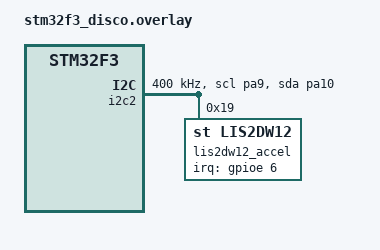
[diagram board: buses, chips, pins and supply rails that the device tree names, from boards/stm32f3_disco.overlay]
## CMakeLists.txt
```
# Copyright (c) 2024 NXP
# SPDX-License-Identifier: Apache-2.0

cmake_minimum_required(VERSION 3.28.0)
find_package(Zephyr REQUIRED HINTS $ENV{ZEPHYR_BASE})
project(accel_trig)

FILE(GLOB app_sources src/*.c)
target_sources(app PRIVATE ${app_sources})
```

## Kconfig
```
#
#  Copyright (c) 2025 Pierrick Curt
#
# SPDX-License-Identifier: Apache-2.0
#

mainmenu "Accelerometer trigger sample application"

config SAMPLE_TAP_DETECTION
	bool "Set tap detection as trigger in the sample"

config ACTIVITY_DETECTION
	bool "Set activity detection as trigger in the sample"

source "Kconfig.zephyr"
```

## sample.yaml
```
sample:
  name: Accelerometer trigger sample
common:
  tags: sensors
  harness: console
  harness_config:
    type: one_line
    regex:
      - "^\\s*[0-9A-Za-z_,+-.]*@[0-9A-Fa-f]* \\[m\/s\\^2\\]:    \
        \\(\\s*-?[0-9\\.]*,\\s*-?[0-9\\.]*,\\s*-?[0-9\\.]*\\)$"
tests:
  sample.sensor.accel_trig:
    filter: dt_alias_exists("accel0")
    harness_config:
      type: one_line
      regex:
        - "^\\s*[0-9A-Za-z_,+-.]*@[0-9A-Fa-f]* \\[m\/s\\^2\\]:    \
          \\(\\s*-?[0-9\\.]*,\\s*-?[0-9\\.]*,\\s*-?[0-9\\.]*\\)$"
      fixture: fixture_sensor_accel_int
    integration_platforms:
      - frdm_k64f                          # fxos8700
      - mikroe_clicker_ra4m1/r7fa4m1ab3cfm # mikroe_lsm6dsl_click shield
    platform_exclude:
      - sensortile_box
      - stm32f3_disco
      - stm32f411e_disco
      - b_l4s5i_iot01a
      - disco_l475_iot1
      - stm32l562e_dk
      - stm32wb5mm_dk
    extra_args:
      - platform:mikroe_clicker_ra4m1/r7fa4m1ab3cfm:SHIELD="mikroe_lsm6dsl_click"
  sample.sensor.accel_trig.adxl345-trigger:
    extra_args:
      - SHIELD=pmod_acl
      - EXTRA_CONF_FILE=adxl345-trigger.conf
      - SNIPPET=rtt-tracing;rtt-console
    extra_configs:
      - CONFIG_UART_CONSOLE=n
    platform_allow:
      - apard32690/max32690/m4
  sample.sensor.accel_trig.adxl362-trigger:
    extra_args:
      - SHIELD=eval_adxl362_ardz
      - EXTRA_CONF_FILE=adxl362-trigger.conf
      - SNIPPET=rtt-tracing;rtt-console
    extra_configs:
      - CONFIG_UART_CONSOLE=n
    platform_allow:
      - apard32690/max32690/m4
  sample.sensor.accel_trig.shield-tap:
    harness_config:
      fixture: fixture_x_nucleo_iks01a3
    extra_args:
      - SHIELD=x_nucleo_iks01a3
      - EXTRA_DTC_OVERLAY_FILE=x_nucleo_iks01a3.overlay
      - CONFIG_SAMPLE_TAP_DETECTION=y
    depends_on:
      - arduino_i2c
      - arduino_gpio
    platform_allow:
      - nrf52dk/nrf52832
    integration_platforms:
      - nrf52dk/nrf52832
  sample.sensor.accel_trig.generic-tap:
    filter: dt_compat_enabled("nxp,fxos8700") or dt_compat_enabled("invensense,icm42605") or
            dt_compat_enabled("st,iis2dlpc") or dt_compat_enabled("st,lis2dw12")
    extra_args:
      - CONFIG_SAMPLE_TAP_DETECTION=y
    integration_platforms:
      - stm32f3_disco
```

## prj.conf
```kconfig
CONFIG_STDOUT_CONSOLE=y
CONFIG_SENSOR=y
CONFIG_CBPRINTF_FP_SUPPORT=y
```

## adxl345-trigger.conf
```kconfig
# Copyright (c) 2024 Analog Devices, Inc.
# SPDX-License-Identifier: Apache-2.0

CONFIG_ADXL345_TRIGGER_OWN_THREAD=y
CONFIG_ACTIVITY_DETECTION=y
```

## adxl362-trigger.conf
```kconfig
# Copyright (c) 2024 Analog Devices, Inc.
# SPDX-License-Identifier: Apache-2.0

CONFIG_ADXL362_TRIGGER_OWN_THREAD=y
CONFIG_ADXL362_ACCEL_ODR_400=y
```

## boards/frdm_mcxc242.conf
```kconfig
CONFIG_FXLS8974_TRIGGER_OWN_THREAD=y
```

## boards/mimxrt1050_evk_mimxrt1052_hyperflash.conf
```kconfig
CONFIG_FXOS8700_TRIGGER_OWN_THREAD=y
CONFIG_FXOS8700_MODE_ACCEL=y
```

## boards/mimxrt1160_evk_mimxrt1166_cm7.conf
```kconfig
#
# check the fxos8700 dts for this board for addition settings
#

CONFIG_FXOS8700_TRIGGER_OWN_THREAD=y
CONFIG_FXOS8700_MODE_ACCEL=y
```

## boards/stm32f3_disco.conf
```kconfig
# SPDX-FileCopyrightText: Copyright The Zephyr Project Contributors
# SPDX-License-Identifier: Apache-2.0

CONFIG_I2C=y
CONFIG_SENSOR_LOG_LEVEL_DBG=y
CONFIG_LIS2DW12_TRIGGER_GLOBAL_THREAD=y
CONFIG_LIS2DW12_TAP=y
```

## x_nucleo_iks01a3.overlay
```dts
/*
 * Copyright (c) 2025 Pierrick Curt
 *
 * SPDX-License-Identifier: Apache-2.0
 */
#include <zephyr/dt-bindings/sensor/lis2dw12.h>

&lis2dw12_19_x_nucleo_iks01a3 {
	compatible = "st,lis2dw12";
	reg = <0x19>;
	odr = <400>;
	tap-mode = <LIS2DW12_DT_SINGLE_DOUBLE_TAP>;
	tap-threshold = <12>, <12>, <12>;
	power-mode = <LIS2DW12_DT_HP_MODE>;
	tap-shock = <0x03>;
	tap-quiet = <0x03>;
	tap-latency = <0x03>;
	irq-gpios = <&arduino_header 3 GPIO_ACTIVE_HIGH>; /* A3 */
	status = "okay";
};
```

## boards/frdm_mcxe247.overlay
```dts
/*
 * SPDX-License-Identifier: Apache-2.0
 *
 * Copyright 2025 NXP
 */

&fxls8974 {
	int1-gpios = <&gpioe 14 GPIO_ACTIVE_LOW>;
	int2-gpios = <&gpioe 11 GPIO_ACTIVE_LOW>;
	status = "okay";
};
```

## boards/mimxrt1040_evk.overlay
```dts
/*
 * SPDX-License-Identifier: Apache-2.0
 *
 * Copyright 2025 NXP
 */

&fxls8974 {
	int1-gpios = <&gpio1 11 GPIO_ACTIVE_LOW>;
	int2-gpios = <&gpio1 12 GPIO_ACTIVE_LOW>;
	status = "okay";
};
```

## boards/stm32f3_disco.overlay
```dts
/*
 * Copyright (c) 2024, Pierrick Curt.
 *
 * SPDX-License-Identifier: Apache-2.0
 */

#include <zephyr/dt-bindings/sensor/lis2dw12.h>

/ {
	aliases {
		accel0 = &lis2dw12_accel;
	};
};

&i2c2 {
	pinctrl-0 = <&i2c2_scl_pa9 &i2c2_sda_pa10>;
	pinctrl-names = "default";
	scl-gpios = <&gpioa 9 GPIO_ACTIVE_HIGH>;
	sda-gpios = <&gpioa 10 GPIO_ACTIVE_HIGH>;
	status = "okay";
	clock-frequency = <I2C_BITRATE_FAST>;

	lis2dw12_accel: lis2dw12@19 {
		compatible = "st,lis2dw12";
		reg = <0x19>;
		odr = <400>;
		tap-mode = <LIS2DW12_DT_SINGLE_DOUBLE_TAP>;
		tap-threshold = <12>, <12>, <12>;
		power-mode = <LIS2DW12_DT_HP_MODE>;
		tap-shock = <0x03>;
		tap-quiet = <0x03>;
		tap-latency = <0x03>;
		irq-gpios = <&gpioe 6 GPIO_ACTIVE_HIGH>;
	};
};
```

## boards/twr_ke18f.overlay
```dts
/*
 * SPDX-License-Identifier: Apache-2.0
 *
 * Copyright 2025 NXP
 */

&fxos8700 {
	int1-gpios = <&gpioa 14 GPIO_ACTIVE_LOW>;
	int2-gpios = <&gpioa 17 GPIO_ACTIVE_LOW>;
	status = "okay";
};
```

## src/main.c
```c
/*
 * Copyright 2024 NXP
 * Copyright (c) 2018 Phytec Messtechnik GmbH
 *
 * SPDX-License-Identifier: Apache-2.0
 */

#include <zephyr/kernel.h>
#include <zephyr/drivers/sensor.h>
#include <stdio.h>

K_SEM_DEFINE(sem, 0, 1); /* starts off "not available" */

#ifdef CONFIG_SAMPLE_TAP_DETECTION
static void tap_trigger_handler(const struct device *dev, const struct sensor_trigger *trigger)
{
	ARG_UNUSED(trigger);
	printf("TAP detected\n");

	int rc = sensor_sample_fetch_chan(dev, SENSOR_CHAN_ACCEL_XYZ);

	if (rc < 0) {
		printf("ERROR: SENSOR_CHAN_ACCEL_XYZ fetch failed: %d\n", rc);
	}

	k_sem_give(&sem);
}
#elif defined(CONFIG_ACTIVITY_DETECTION)
static void activity_trigger_handler(const struct device *dev, const struct sensor_trigger *trigger)
{
	ARG_UNUSED(trigger);
	printf("ACTIVITY detected\n");

	int rc = sensor_sample_fetch_chan(dev, SENSOR_CHAN_ACCEL_XYZ);

	if (rc < 0) {
		printf("ERROR: SENSOR_CHAN_ACCEL_XYZ fetch failed: %d\n", rc);
	}

	k_sem_give(&sem);
}
#else
static void trigger_handler(const struct device *dev, const struct sensor_trigger *trigger)
{
	ARG_UNUSED(trigger);

	/* Always fetch the sample to clear the data ready interrupt in the
	 * sensor.
	 */
	int rc = sensor_sample_fetch(dev);

	if (rc) {
		printf("sensor_sample_fetch failed: %d\n", rc);
		return;
	}

	k_sem_give(&sem);
}
#endif

int main(void)
{
	struct sensor_value data[3];
	const struct device *const dev = DEVICE_DT_GET(DT_ALIAS(accel0));

	struct sensor_trigger trig = {
		.type = SENSOR_TRIG_DATA_READY,
		.chan = SENSOR_CHAN_ACCEL_XYZ,
	};

	if (!device_is_ready(dev)) {
		printf("Device %s is not ready\n", dev->name);
		return 0;
	}

#ifdef CONFIG_SAMPLE_TAP_DETECTION
	trig.type = SENSOR_TRIG_DOUBLE_TAP;
	trig.chan = SENSOR_CHAN_ACCEL_XYZ;
	int rc = sensor_trigger_set(dev, &trig, tap_trigger_handler);

	if (rc < 0) {
		printf("Could not set tap trigger: %d\n", rc);
		return 0;
	}
#elif defined(CONFIG_ACTIVITY_DETECTION)
	struct sensor_value thresh = {
		.val1 = 15,
		.val2 = 0
	};

	int rc = sensor_attr_set(dev, SENSOR_CHAN_ACCEL_XYZ,
				 SENSOR_ATTR_UPPER_THRESH, &thresh);
	if (rc < 0) {
		printf("Failed to set activity threshold: %d\n", rc);
		return 0;
	}

	trig.type = SENSOR_TRIG_MOTION;
	trig.chan = SENSOR_CHAN_ACCEL_XYZ;
	rc = sensor_trigger_set(dev, &trig, activity_trigger_handler);

	if (rc < 0) {
		printf("Could not set activity trigger: %d\n", rc);
		return 0;
	}
#else
	int rc = sensor_trigger_set(dev, &trig, trigger_handler);

	if (rc) {
		printf("Could not set trigger: %d\n", rc);
		return 0;
	}
#endif

	while (1) {
		k_sem_take(&sem, K_FOREVER);
		sensor_channel_get(dev, SENSOR_CHAN_ACCEL_XYZ, data);

		/* Print accel x,y,z data */
		printf("%16s [m/s^2]:    (%12.6f, %12.6f, %12.6f)\n", dev->name,
		       sensor_value_to_double(&data[0]), sensor_value_to_double(&data[1]),
		       sensor_value_to_double(&data[2]));
	}
}
```
